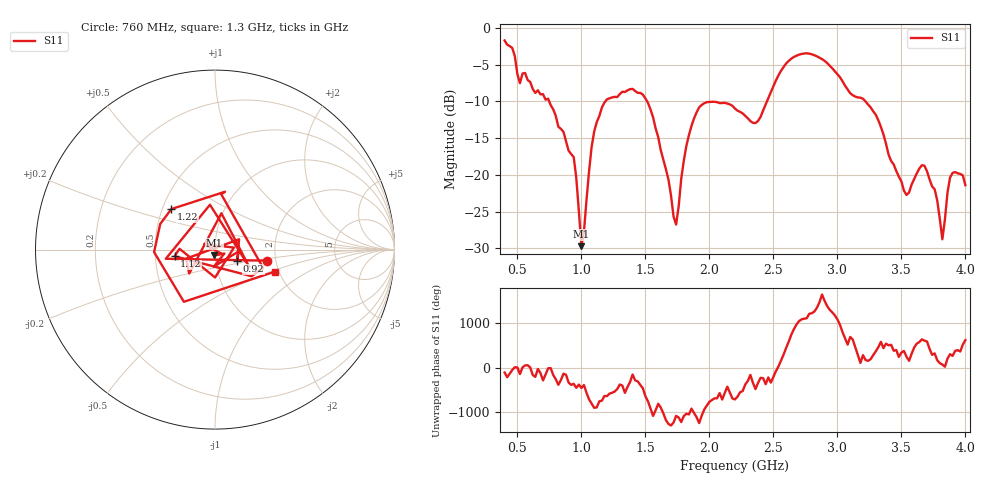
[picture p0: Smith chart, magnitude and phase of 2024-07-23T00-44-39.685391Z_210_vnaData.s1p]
!Created with skrf (http://scikit-rf.org).
# Hz S RI R 50.0
!freq ReS11 ImS11
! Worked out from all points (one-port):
!   181 points, 400 MHz to 4 GHz, reference 50 ohm
!   lowest |S11| = -29.7 dB at 1 GHz (marker M1), VSWR 1.07, Z = 49.5 - j3.21 ohm
!   |S11| at or under -10 dB: 748.6 MHz to 1.187 GHz (438.3 MHz wide, 45.3 % of centre); 1.514 GHz to 2.449 GHz (935.6 MHz wide, 47.2 % of centre); 3.219 GHz to end of sweep
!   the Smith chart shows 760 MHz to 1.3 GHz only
!   S11 on the Smith chart (normalised r, x): 760 MHz: 1.80, -0.24; 920 MHz: 1.27, -0.16; 1.12 GHz: 0.63, -0.05; 1.22 GHz: 0.56, +0.28; 1.3 GHz: 1.90, -0.53
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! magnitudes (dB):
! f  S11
! 400 MHz  -1.7
! 520 MHz  -7.5
! 760 MHz  -10.5
! 860 MHz  -14.2
! 920 MHz  -17.2
! 960 MHz  -20.4
! 1 GHz  -29.7
! 1.08 GHz  -16.2
! 1.12 GHz  -12.8
! 1.22 GHz  -9.6
! 1.3 GHz  -9.0
! 1.52 GHz  -10.2
! 1.72 GHz  -25.7
! 1.76 GHz  -24.3
! 1.82 GHz  -16.1
! 1.92 GHz  -10.8
! 2.2 GHz  -11.0
! 2.38 GHz  -12.7
! 2.66 GHz  -3.9
! 2.88 GHz  -4.2
! 3.1 GHz  -8.9
! 3.3 GHz  -11.8
! 3.56 GHz  -22.4
! 3.68 GHz  -18.8
! 3.76 GHz  -22.0
! 3.82 GHz  -28.8
! 3.88 GHz  -20.4
! 4 GHz  -21.4
